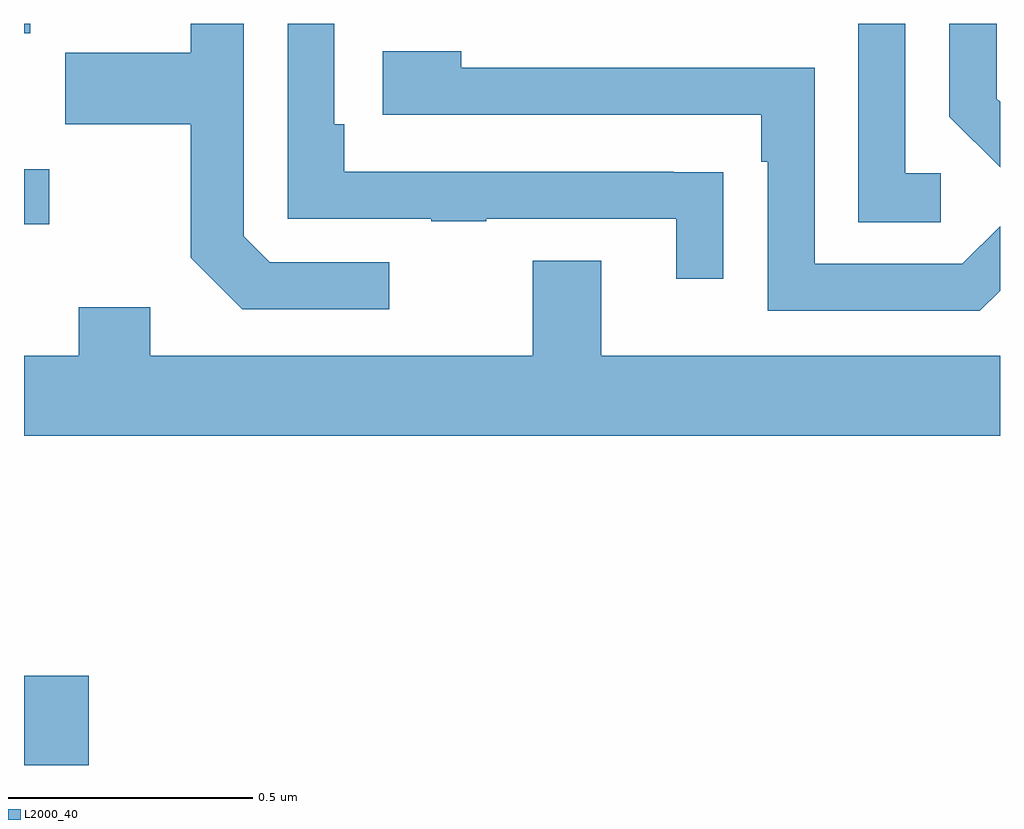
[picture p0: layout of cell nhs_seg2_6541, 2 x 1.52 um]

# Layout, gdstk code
import gdstk
lib = gdstk.Library(unit=1e-6, precision=1e-09)
def R(c, l, rs):  # rectangles x0, y0, x1, y1
    for r in rs: c.add(gdstk.rectangle(r[:2], r[2:], *l))
def P(c, l, *ps):  # polygons
    for p in ps: c.add(gdstk.Polygon(p, *l))
L2000_40 = (2000, 40)

nhs_seg2_6541 = lib.new_cell('nhs_seg2_6541')
R(nhs_seg2_6541, L2000_40, [(192,660.281,192.133,660.464), (192,661.389,192.052,661.502), (192,661.781,192.013,661.8)])
P(nhs_seg2_6541, L2000_40, [(192.748,661.311),(192.504,661.311),(192.45,661.365),(192.45,661.8),(192.342,661.8),(192.342,661.741),(192.085,661.741),(192.085,661.594),(192.342,661.594),(192.342,661.321),(192.447,661.215),(192.748,661.215)],
  [(193.879,661.494),(193.806,661.494),(193.806,661.8),(193.71,661.8),(193.71,661.393),(193.879,661.393)],
  [(194,661.64),(193.993,661.647),(193.993,661.8),(193.896,661.8),(193.896,661.61),(194,661.506)],
  [(193.433,661.496),(193.331,661.496),(193.331,661.497),(192.656,661.497),(192.656,661.594),(192.636,661.594),(192.636,661.8),(192.54,661.8),(192.54,661.401),(192.835,661.401),(192.835,661.396),(192.947,661.396),(192.947,661.401),(193.337,661.401),(193.337,661.278),(193.433,661.278)],
  [(194,661.253),(194,661.385),(193.923,661.308),(193.62,661.308),(193.62,661.71),(192.896,661.71),(192.896,661.744),(192.735,661.744),(192.735,661.614),(193.511,661.614),(193.511,661.517),(193.524,661.517),(193.524,661.212),(193.959,661.212)],
  [(194,661.12),(193.183,661.12),(193.183,661.315),(193.043,661.315),(193.043,661.12),(192.259,661.12),(192.259,661.219),(192.112,661.219),(192.112,661.12),(192,661.12),(192,660.956),(194,660.956)])

lib.write_gds('nhs_seg2_6541.gds')
